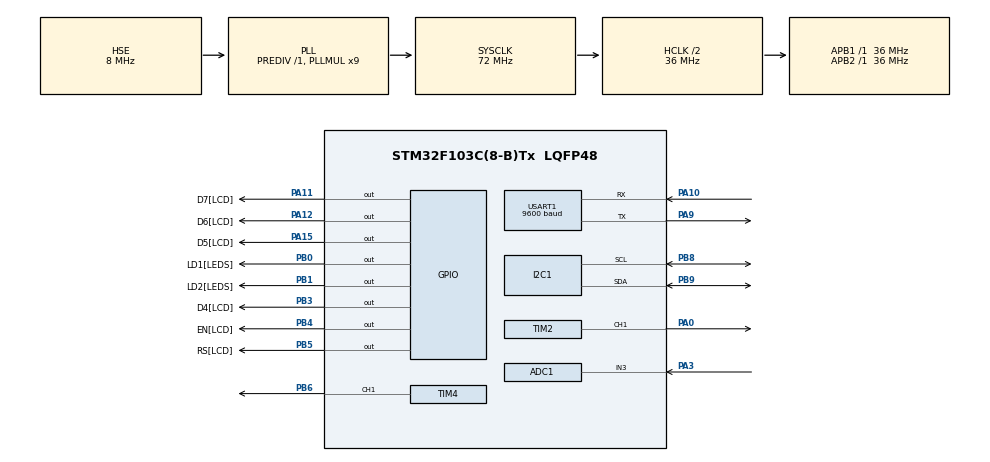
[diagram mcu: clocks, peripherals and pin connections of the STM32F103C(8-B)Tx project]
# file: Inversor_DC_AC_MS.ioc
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ADC1.Channel-0\#ChannelRegularConversion=ADC_CHANNEL_3
ADC1.InjNumberOfConversion=0
ADC1.NbrOfConversion=1
ADC1.NbrOfConversionFlag=1
ADC1.Rank-0\#ChannelRegularConversion=1
ADC1.SamplingTime-0\#ChannelRegularConversion=ADC_SAMPLETIME_28CYCLES_5
ADC1.master=1
I2C1.I2C_Mode=I2C_Fast
Mcu.Family=STM32F1
Mcu.Name=STM32F103C(8-B)Tx
Mcu.Package=LQFP48
NVIC.PriorityGroup=NVIC_PRIORITYGROUP_4
NVIC.TIM3_IRQn=true\:0\:0\:false\:false\:true\:true
PA0-WKUP.Signal=S_TIM2_CH1_ETR
PA10.Mode=Asynchronous
PA10.Signal=USART1_RX
PA11.GPIO_Label=D7[LCD]
PA11.Signal=GPIO_Output
PA12.GPIO_Label=D6[LCD]
PA12.Signal=GPIO_Output
PA13.Mode=Serial_Wire
PA13.Signal=SYS_JTMS-SWDIO
PA14.Mode=Serial_Wire
PA14.Signal=SYS_JTCK-SWCLK
PA15.GPIO_Label=D5[LCD]
PA15.Signal=GPIO_Output
PA3.Signal=ADCx_IN3
PA9.Mode=Asynchronous
PA9.Signal=USART1_TX
PB0.GPIO_Label=LD1[LEDS]
PB0.Signal=GPIO_Output
PB1.GPIO_Label=LD2[LEDS]
PB1.Signal=GPIO_Output
PB3.GPIO_Label=D4[LCD]
PB3.Signal=GPIO_Output
PB4.GPIO_Label=EN[LCD]
PB4.Signal=GPIO_Output
PB5.GPIO_Label=RS[LCD]
PB5.Signal=GPIO_Output
PB6.Signal=S_TIM4_CH1
PB8.Mode=I2C
PB8.Signal=I2C1_SCL
PB9.Mode=I2C
PB9.Signal=I2C1_SDA
PD0-OSC_IN.Mode=HSE-External-Oscillator
PD0-OSC_IN.Signal=RCC_OSC_IN
PD1-OSC_OUT.Mode=HSE-External-Oscillator
PD1-OSC_OUT.Signal=RCC_OSC_OUT
ProjectManager.HeapSize=0x200
ProjectManager.StackSize=0x400
ProjectManager.TargetToolchain=TrueSTUDIO
RCC.ADCPresc=RCC_ADCPCLK2_DIV4
RCC.AHBCLKDivider=RCC_SYSCLK_DIV2
RCC.AHBFreq_Value=36000000
RCC.APB1Freq_Value=36000000
RCC.APB1TimFreq_Value=36000000
RCC.APB2Freq_Value=36000000
RCC.APB2TimFreq_Value=36000000
RCC.HCLKFreq_Value=36000000
RCC.PLLMUL=RCC_PLL_MUL9
RCC.PLLSourceVirtual=RCC_PLLSOURCE_HSE
RCC.SYSCLKFreq_VALUE=72000000
RCC.SYSCLKSource=RCC_SYSCLKSOURCE_PLLCLK
RCC.USBFreq_Value=72000000
SH.ADCx_IN3.0=ADC1_IN3,IN3
SH.S_TIM2_CH1_ETR.0=TIM2_CH1,PWM Generation1 CH1
SH.S_TIM4_CH1.0=TIM4_CH1,PWM Generation1 CH1
TIM2.Channel-PWM\ Generation1\ CH1=TIM_CHANNEL_1
TIM2.OCFastMode_PWM-PWM\ Generation1\ CH1=TIM_OCFAST_ENABLE
TIM2.Period=100
TIM2.Prescaler=6
TIM3.Period=100
TIM3.Prescaler=36
TIM4.Channel-PWM\ Generation1\ CH1=TIM_CHANNEL_1
TIM4.OCFastMode_PWM-PWM\ Generation1\ CH1=TIM_OCFAST_ENABLE
TIM4.OCMode_PWM-PWM\ Generation1\ CH1=TIM_OCMODE_PWM1
TIM4.Period=100
TIM4.Prescaler=6
USART1.BaudRate=9600
USART1.VirtualMode=VM_ASYNC
VP_TIM3_VS_ClockSourceINT.Mode=Internal
board=Inversor_DC_AC_MS

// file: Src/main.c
/**
  ******************************************************************************
  * @file           : main.c
  * @brief          : Main program body
  ******************************************************************************
  ** This notice applies to any and all portions of this file
  * that are not between comment pairs USER CODE BEGIN and
  * USER CODE END. Other portions of this file, whether
  * inserted by the user or by software development tools
  * are owned by their respective copyright owners.
  *
  * COPYRIGHT(c) 2018 STMicroelectronics
  *
  * Redistribution and use in source and binary forms, with or without modification,
  * are permitted provided that the following conditions are met:
  *   1. Redistributions of source code must retain the above copyright notice,
  *      this list of conditions and the following disclaimer.
  *   2. Redistributions in binary form must reproduce the above copyright notice,
  *      this list of conditions and the following disclaimer in the documentation
  *      and/or other materials provided with the distribution.
  *   3. Neither the name of STMicroelectronics nor the names of its contributors
  *      may be used to endorse or promote products derived from this software
  *      without specific prior written permission.
  *
  * THIS SOFTWARE IS PROVIDED BY THE COPYRIGHT HOLDERS AND CONTRIBUTORS "AS IS"
  * AND ANY EXPRESS OR IMPLIED WARRANTIES, INCLUDING, BUT NOT LIMITED TO, THE
  * IMPLIED WARRANTIES OF MERCHANTABILITY AND FITNESS FOR A PARTICULAR PURPOSE ARE
  * DISCLAIMED. IN NO EVENT SHALL THE COPYRIGHT HOLDER OR CONTRIBUTORS BE LIABLE
  * FOR ANY DIRECT, INDIRECT, INCIDENTAL, SPECIAL, EXEMPLARY, OR CONSEQUENTIAL
  * DAMAGES (INCLUDING, BUT NOT LIMITED TO, PROCUREMENT OF SUBSTITUTE GOODS OR
  * SERVICES; LOSS OF USE, DATA, OR PROFITS; OR BUSINESS INTERRUPTION) HOWEVER
  * CAUSED AND ON ANY THEORY OF LIABILITY, WHETHER IN CONTRACT, STRICT LIABILITY,
  * OR TORT (INCLUDING NEGLIGENCE OR OTHERWISE) ARISING IN ANY WAY OUT OF THE USE
  * OF THIS SOFTWARE, EVEN IF ADVISED OF THE POSSIBILITY OF SUCH DAMAGE.
  *
  ******************************************************************************
  */
#include "main.h"
#include "stm32f1xx_hal.h"

ADC_HandleTypeDef hadc1;

I2C_HandleTypeDef hi2c1;

TIM_HandleTypeDef htim2;
TIM_HandleTypeDef htim3;
TIM_HandleTypeDef htim4;

UART_HandleTypeDef huart1;

/* USER CODE BEGIN PV */
/* Private variables ---------------------------------------------------------*/

uint16_t adc_value=0;
uint16_t i=0,count=0;
char buffer[200];
uint16_t fine_amp,counter=0,c0,c1,c2,c3;

/* USER CODE END PV */

void SystemClock_Config(void);
static void MX_GPIO_Init(void);
static void MX_I2C1_Init(void);
static void MX_USART1_UART_Init(void);
static void MX_TIM2_Init(void);
static void MX_TIM3_Init(void);
static void MX_ADC1_Init(void);
static void MX_TIM4_Init(void);

void HAL_TIM_MspPostInit(TIM_HandleTypeDef *htim);

/* USER CODE BEGIN PFP */
/* Private function prototypes -----------------------------------------------*/

/* USER CODE END PFP */

/* USER CODE BEGIN 0 */

void write_lcd (uint8_t data, uint8_t cmd_data)
{
	// identifica comando ou dado
	if (cmd_data) HAL_GPIO_WritePin(RS_GPIO_Port, RS_Pin, GPIO_PIN_SET);
	else 					HAL_GPIO_WritePin(RS_GPIO_Port, RS_Pin, GPIO_PIN_RESET);

	// 4 bits high
	if (data & 0x80) HAL_GPIO_WritePin (D7_GPIO_Port, D7_Pin, GPIO_PIN_SET);
	else						 HAL_GPIO_WritePin (D7_GPIO_Port, D7_Pin, GPIO_PIN_RESET);
	if (data & 0x40) HAL_GPIO_WritePin (D6_GPIO_Port, D6_Pin, GPIO_PIN_SET);
	else						 HAL_GPIO_WritePin (D6_GPIO_Port, D6_Pin, GPIO_PIN_RESET);
	if (data & 0x20) HAL_GPIO_WritePin (D5_GPIO_Port, D5_Pin, GPIO_PIN_SET);
	else						 HAL_GPIO_WritePin (D5_GPIO_Port, D5_Pin, GPIO_PIN_RESET);
	if (data & 0x10) HAL_GPIO_WritePin (D4_GPIO_Port, D4_Pin, GPIO_PIN_SET);
	else						 HAL_GPIO_WritePin (D4_GPIO_Port, D4_Pin, GPIO_PIN_RESET);

	HAL_GPIO_WritePin(EN_GPIO_Port, EN_Pin, GPIO_PIN_SET);
	HAL_Delay(2);
	HAL_GPIO_WritePin(EN_GPIO_Port, EN_Pin, GPIO_PIN_RESET);

	// 4 bits Low
	if (data & 0x08) HAL_GPIO_WritePin (D7_GPIO_Port, D7_Pin, GPIO_PIN_SET);
	else						 HAL_GPIO_WritePin (D7_GPIO_Port, D7_Pin, GPIO_PIN_RESET);
	if (data & 0x04) HAL_GPIO_WritePin (D6_GPIO_Port, D6_Pin, GPIO_PIN_SET);
	else						 HAL_GPIO_WritePin (D6_GPIO_Port, D6_Pin, GPIO_PIN_RESET);
	if (data & 0x02) HAL_GPIO_WritePin (D5_GPIO_Port, D5_Pin, GPIO_PIN_SET);
	else						 HAL_GPIO_WritePin (D5_GPIO_Port, D5_Pin, GPIO_PIN_RESET);
	if (data & 0x01) HAL_GPIO_WritePin (D4_GPIO_Port, D4_Pin, GPIO_PIN_SET);
	else						 HAL_GPIO_WritePin (D4_GPIO_Port, D4_Pin, GPIO_PIN_RESET);

	HAL_GPIO_WritePin(EN_GPIO_Port, EN_Pin, GPIO_PIN_SET);
	HAL_Delay(2);
	HAL_GPIO_WritePin(EN_GPIO_Port, EN_Pin, GPIO_PIN_RESET);
}

/* init_LCD - Inicializa o display em 4bits */
void init_lcd(void)
{
	write_lcd(0x33, 0);
	write_lcd(0x32, 0);
	write_lcd(0x28, 0);
	write_lcd(0x06, 0);
	write_lcd(0x0C, 0);
	write_lcd(0x01, 0);
}

/* string_lcd - escreve string no LCD */
void string_lcd (char *string)
{
	while(*string) write_lcd(*string++, 1);
}

/* USER CODE END 0 */

int main(void)
{

  /* MCU Configuration----------------------------------------------------------*/

  /* Reset of all peripherals, Initializes the Flash interface and the Systick. */
  HAL_Init();

  /* Configure the system clock */
  SystemClock_Config();

  /* Initialize all configured peripherals */
  MX_GPIO_Init();
  MX_I2C1_Init();
  MX_USART1_UART_Init();
  MX_TIM2_Init();
  MX_TIM3_Init();
  MX_ADC1_Init();
  MX_TIM4_Init();
  /* USER CODE BEGIN 2 */
  HAL_TIM_PWM_Start(&htim2,TIM_CHANNEL_1);
  HAL_TIM_PWM_Start(&htim4, TIM_CHANNEL_1);
  HAL_GPIO_WritePin(LD1_GPIO_Port,LD1_Pin,GPIO_PIN_RESET);
  HAL_GPIO_WritePin(LD2_GPIO_Port,LD2_Pin,GPIO_PIN_RESET);
  HAL_TIM_Base_Start_IT(&htim3);
  HAL_ADCEx_Calibration_Start(&hadc1);
  init_lcd();

  /* USER CODE END 2 */

  /* Infinite loop */
  while (1)
  {

  /* USER CODE BEGIN 3 */

	  			HAL_ADC_Start(&hadc1);
		  		HAL_ADC_PollForConversion(&hadc1, 50);
		  		adc_value = HAL_ADC_GetValue(&hadc1);
		  		HAL_ADC_Stop(&hadc1);
		  		fine_amp = (adc_value * 0.2443)*0.04;
		  		if(fine_amp<0) fine_amp=1;

		  		sprintf(buffer,"%04d",adc_value);
		  		write_lcd(0x80,0);
		  		string_lcd(buffer);
		  		sprintf(buffer,"%02d",fine_amp);
		  		write_lcd(0xC0,0);
		  		string_lcd(buffer);
		  		sprintf(buffer,"%02d",c0);
		  		write_lcd(0x86,0);
		  		string_lcd(buffer);
		  		sprintf(buffer,"%02d",c1);
		  		write_lcd(0x8A,0);
		  		string_lcd(buffer);
		  		sprintf(buffer,"%03d",c2);
		  		write_lcd(0xC6,0);
		  		string_lcd(buffer);

  }
  /* USER CODE END 3 */

}

void SystemClock_Config(void)
{

  RCC_OscInitTypeDef RCC_OscInitStruct;
  RCC_ClkInitTypeDef RCC_ClkInitStruct;
  RCC_PeriphCLKInitTypeDef PeriphClkInit;

    /**Initializes the CPU, AHB and APB busses clocks
    */
  RCC_OscInitStruct.OscillatorType = RCC_OSCILLATORTYPE_HSE;
  RCC_OscInitStruct.HSEState = RCC_HSE_ON;
  RCC_OscInitStruct.HSEPredivValue = RCC_HSE_PREDIV_DIV1;
  RCC_OscInitStruct.HSIState = RCC_HSI_ON;
  RCC_OscInitStruct.PLL.PLLState = RCC_PLL_ON;
  RCC_OscInitStruct.PLL.PLLSource = RCC_PLLSOURCE_HSE;
  RCC_OscInitStruct.PLL.PLLMUL = RCC_PLL_MUL9;
  if (HAL_RCC_OscConfig(&RCC_OscInitStruct) != HAL_OK)
  {
    _Error_Handler(__FILE__, __LINE__);
  }

    /**Initializes the CPU, AHB and APB busses clocks
    */
  RCC_ClkInitStruct.ClockType = RCC_CLOCKTYPE_HCLK|RCC_CLOCKTYPE_SYSCLK
                              |RCC_CLOCKTYPE_PCLK1|RCC_CLOCKTYPE_PCLK2;
  RCC_ClkInitStruct.SYSCLKSource = RCC_SYSCLKSOURCE_PLLCLK;
  RCC_ClkInitStruct.AHBCLKDivider = RCC_SYSCLK_DIV2;
  RCC_ClkInitStruct.APB1CLKDivider = RCC_HCLK_DIV1;
  RCC_ClkInitStruct.APB2CLKDivider = RCC_HCLK_DIV1;

  if (HAL_RCC_ClockConfig(&RCC_ClkInitStruct, FLASH_LATENCY_2) != HAL_OK)
  {
    _Error_Handler(__FILE__, __LINE__);
  }

  PeriphClkInit.PeriphClockSelection = RCC_PERIPHCLK_ADC;
  PeriphClkInit.AdcClockSelection = RCC_ADCPCLK2_DIV4;
  if (HAL_RCCEx_PeriphCLKConfig(&PeriphClkInit) != HAL_OK)
  {
    _Error_Handler(__FILE__, __LINE__);
  }

    /**Configure the Systick interrupt time
    */
  HAL_SYSTICK_Config(HAL_RCC_GetHCLKFreq()/1000);

    /**Configure the Systick
    */
  HAL_SYSTICK_CLKSourceConfig(SYSTICK_CLKSOURCE_HCLK);

  /* SysTick_IRQn interrupt configuration */
  HAL_NVIC_SetPriority(SysTick_IRQn, 0, 0);
}

/* ADC1 init function */
static void MX_ADC1_Init(void)
{

  ADC_ChannelConfTypeDef sConfig;

    /**Common config
    */
  hadc1.Instance = ADC1;
  hadc1.Init.ScanConvMode = ADC_SCAN_DISABLE;
  hadc1.Init.ContinuousConvMode = DISABLE;
  hadc1.Init.DiscontinuousConvMode = DISABLE;
  hadc1.Init.ExternalTrigConv = ADC_SOFTWARE_START;
  hadc1.Init.DataAlign = ADC_DATAALIGN_RIGHT;
  hadc1.Init.NbrOfConversion = 1;
  if (HAL_ADC_Init(&hadc1) != HAL_OK)
  {
    _Error_Handler(__FILE__, __LINE__);
  }

    /**Configure Regular Channel
    */
  sConfig.Channel = ADC_CHANNEL_3;
  sConfig.Rank = ADC_REGULAR_RANK_1;
  sConfig.SamplingTime = ADC_SAMPLETIME_28CYCLES_5;
  if (HAL_ADC_ConfigChannel(&hadc1, &sConfig) != HAL_OK)
  {
    _Error_Handler(__FILE__, __LINE__);
  }

}

/* I2C1 init function */
static void MX_I2C1_Init(void)
{

  hi2c1.Instance = I2C1;
  hi2c1.Init.ClockSpeed = 400000;
  hi2c1.Init.DutyCycle = I2C_DUTYCYCLE_2;
  hi2c1.Init.OwnAddress1 = 0;
  hi2c1.Init.AddressingMode = I2C_ADDRESSINGMODE_7BIT;
  hi2c1.Init.DualAddressMode = I2C_DUALADDRESS_DISABLE;
  hi2c1.Init.OwnAddress2 = 0;
  hi2c1.Init.GeneralCallMode = I2C_GENERALCALL_DISABLE;
  hi2c1.Init.NoStretchMode = I2C_NOSTRETCH_DISABLE;
  if (HAL_I2C_Init(&hi2c1) != HAL_OK)
  {
    _Error_Handler(__FILE__, __LINE__);
  }

}

/* TIM2 init function */
static void MX_TIM2_Init(void)
{

  TIM_MasterConfigTypeDef sMasterConfig;
  TIM_OC_InitTypeDef sConfigOC;

  htim2.Instance = TIM2;
  htim2.Init.Prescaler = 6;
  htim2.Init.CounterMode = TIM_COUNTERMODE_UP;
  htim2.Init.Period = 100;
  htim2.Init.ClockDivision = TIM_CLOCKDIVISION_DIV1;
  htim2.Init.AutoReloadPreload = TIM_AUTORELOAD_PRELOAD_DISABLE;
  if (HAL_TIM_PWM_Init(&htim2) != HAL_OK)
  {
    _Error_Handler(__FILE__, __LINE__);
  }

  sMasterConfig.MasterOutputTrigger = TIM_TRGO_RESET;
  sMasterConfig.MasterSlaveMode = TIM_MASTERSLAVEMODE_DISABLE;
  if (HAL_TIMEx_MasterConfigSynchronization(&htim2, &sMasterConfig) != HAL_OK)
  {
    _Error_Handler(__FILE__, __LINE__);
  }

  sConfigOC.OCMode = TIM_OCMODE_PWM1;
  sConfigOC.Pulse = 0;
  sConfigOC.OCPolarity = TIM_OCPOLARITY_HIGH;
  sConfigOC.OCFastMode = TIM_OCFAST_ENABLE;
  if (HAL_TIM_PWM_ConfigChannel(&htim2, &sConfigOC, TIM_CHANNEL_1) != HAL_OK)
  {
    _Error_Handler(__FILE__, __LINE__);
  }

  HAL_TIM_MspPostInit(&htim2);

}

/* TIM3 init function */
static void MX_TIM3_Init(void)
{

  TIM_ClockConfigTypeDef sClockSourceConfig;
  TIM_MasterConfigTypeDef sMasterConfig;

  htim3.Instance = TIM3;
  htim3.Init.Prescaler = 36;
  htim3.Init.CounterMode = TIM_COUNTERMODE_UP;
  htim3.Init.Period = 100;
  htim3.Init.ClockDivision = TIM_CLOCKDIVISION_DIV1;
  htim3.Init.AutoReloadPreload = TIM_AUTORELOAD_PRELOAD_DISABLE;
  if (HAL_TIM_Base_Init(&htim3) != HAL_OK)
  {
    _Error_Handler(__FILE__, __LINE__);
  }

  sClockSourceConfig.ClockSource = TIM_CLOCKSOURCE_INTERNAL;
  if (HAL_TIM_ConfigClockSource(&htim3, &sClockSourceConfig) != HAL_OK)
  {
    _Error_Handler(__FILE__, __LINE__);
  }

  sMasterConfig.MasterOutputTrigger = TIM_TRGO_RESET;
  sMasterConfig.MasterSlaveMode = TIM_MASTERSLAVEMODE_DISABLE;
  if (HAL_TIMEx_MasterConfigSynchronization(&htim3, &sMasterConfig) != HAL_OK)
  {
    _Error_Handler(__FILE__, __LINE__);
  }

}

/* TIM4 init function */
static void MX_TIM4_Init(void)
{

  TIM_MasterConfigTypeDef sMasterConfig;
  TIM_OC_InitTypeDef sConfigOC;

  htim4.Instance = TIM4;
  htim4.Init.Prescaler = 6;
  htim4.Init.CounterMode = TIM_COUNTERMODE_UP;
  htim4.Init.Period = 100;
  htim4.Init.ClockDivision = TIM_CLOCKDIVISION_DIV1;
  htim4.Init.AutoReloadPreload = TIM_AUTORELOAD_PRELOAD_DISABLE;
  if (HAL_TIM_PWM_Init(&htim4) != HAL_OK)
  {
    _Error_Handler(__FILE__, __LINE__);
  }

  sMasterConfig.MasterOutputTrigger = TIM_TRGO_RESET;
  sMasterConfig.MasterSlaveMode = TIM_MASTERSLAVEMODE_DISABLE;
  if (HAL_TIMEx_MasterConfigSynchronization(&htim4, &sMasterConfig) != HAL_OK)
  {
    _Error_Handler(__FILE__, __LINE__);
  }

  sConfigOC.OCMode = TIM_OCMODE_PWM1;
  sConfigOC.Pulse = 0;
  sConfigOC.OCPolarity = TIM_OCPOLARITY_HIGH;
  sConfigOC.OCFastMode = TIM_OCFAST_ENABLE;
  if (HAL_TIM_PWM_ConfigChannel(&htim4, &sConfigOC, TIM_CHANNEL_1) != HAL_OK)
  {
    _Error_Handler(__FILE__, __LINE__);
  }

  HAL_TIM_MspPostInit(&htim4);

}

/* USART1 init function */
static void MX_USART1_UART_Init(void)
{

  huart1.Instance = USART1;
  huart1.Init.BaudRate = 9600;
  huart1.Init.WordLength = UART_WORDLENGTH_8B;
  huart1.Init.StopBits = UART_STOPBITS_1;
  huart1.Init.Parity = UART_PARITY_NONE;
  huart1.Init.Mode = UART_MODE_TX_RX;
  huart1.Init.HwFlowCtl = UART_HWCONTROL_NONE;
  huart1.Init.OverSampling = UART_OVERSAMPLING_16;
  if (HAL_UART_Init(&huart1) != HAL_OK)
  {
    _Error_Handler(__FILE__, __LINE__);
  }

}

/** Configure pins as
        * Analog
        * Input
        * Output
        * EVENT_OUT
        * EXTI
*/
static void MX_GPIO_Init(void)
{

  GPIO_InitTypeDef GPIO_InitStruct;

  /* GPIO Ports Clock Enable */
  __HAL_RCC_GPIOD_CLK_ENABLE();
  __HAL_RCC_GPIOA_CLK_ENABLE();
  __HAL_RCC_GPIOB_CLK_ENABLE();

  /*Configure GPIO pin Output Level */
  HAL_GPIO_WritePin(GPIOB, LD1_Pin|LD2_Pin|D4_Pin|EN_Pin
                          |RS_Pin, GPIO_PIN_RESET);

  /*Configure GPIO pin Output Level */
  HAL_GPIO_WritePin(GPIOA, D7_Pin|D6_Pin|D5_Pin, GPIO_PIN_RESET);

  /*Configure GPIO pins : LD1_Pin LD2_Pin D4_Pin EN_Pin
                           RS_Pin */
  GPIO_InitStruct.Pin = LD1_Pin|LD2_Pin|D4_Pin|EN_Pin
                          |RS_Pin;
  GPIO_InitStruct.Mode = GPIO_MODE_OUTPUT_PP;
  GPIO_InitStruct.Speed = GPIO_SPEED_FREQ_LOW;
  HAL_GPIO_Init(GPIOB, &GPIO_InitStruct);

  /*Configure GPIO pins : D7_Pin D6_Pin D5_Pin */
  GPIO_InitStruct.Pin = D7_Pin|D6_Pin|D5_Pin;
  GPIO_InitStruct.Mode = GPIO_MODE_OUTPUT_PP;
  GPIO_InitStruct.Speed = GPIO_SPEED_FREQ_LOW;
  HAL_GPIO_Init(GPIOA, &GPIO_InitStruct);

}

void _Error_Handler(char *file, int line)
{
  while(1)
  {
  }
}

/************************ (C) COPYRIGHT STMicroelectronics *****END OF FILE****/
